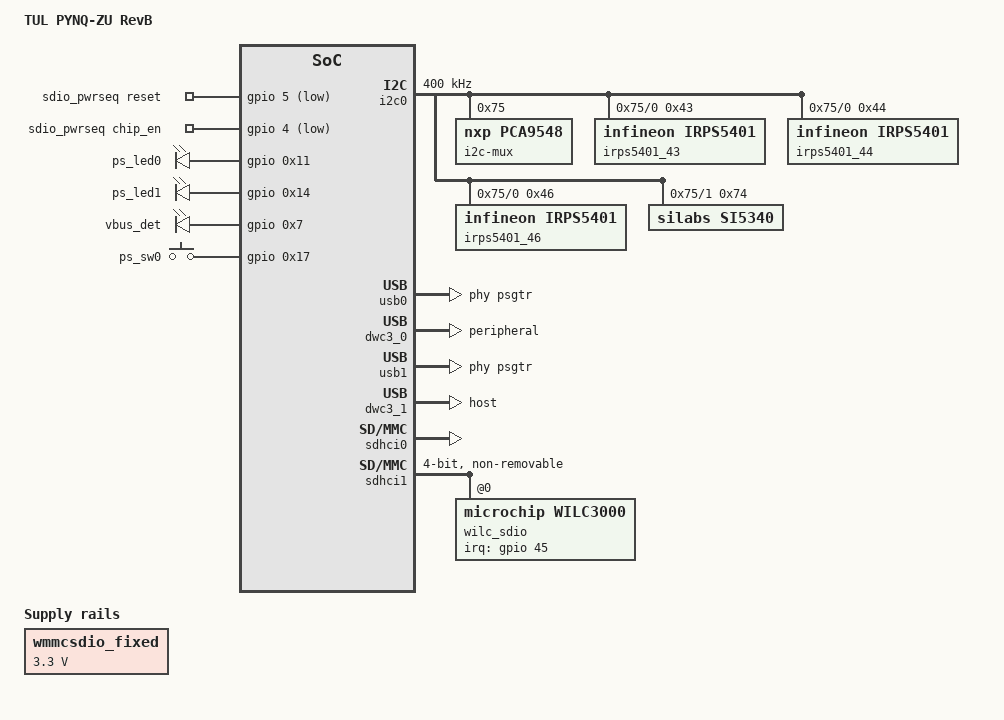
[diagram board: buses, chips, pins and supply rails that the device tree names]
// Copyright (C) 2021 Xilinx, Inc
// SPDX-License-Identifier: BSD-3-Clause

/include/ "system-conf.dtsi"
#include <dt-bindings/phy/phy.h>
/include/ "port-config.dtsi"
/ {
	model = "TUL PYNQ-ZU RevB";

	reserved-memory {
		#address-cells = <2>;
		#size-cells = <2>;
		ranges;

		linux,cma {
			linux,cma-default;
			compatible = "shared-dma-pool";
			alloc-ranges = <0x0 0x0 0x0 0x7ff00000>;
			size = <0x0 0x20000000>;
			alignment = <0x0 0x2000>;
			reusable;
		};
	};

	wmmcsdio_fixed:fixedregulator-mmcsdio {
		compatible = "regulator-fixed";
		regulator-name = "wmmcsdio_fixed";
		regulator-min-microvolt = <3300000>;
		regulator-max-microvolt = <3300000>;
		regulator-always-on;
		regulator-boot-on;
	};

	sdio_pwrseq: sdio_pwrseq {
		compatible = "mmc-pwrseq-simple";
		// MIO[5] RESETN for WILC3000 active low
		reset-gpios = <&gpio 5 1>;
		// requires a patched pwrseq_simple.c for WILC3000
		chip_en-gpios = <&gpio 4 1>;
		post-power-on-delay-ms = <10>;
	};

	leds {
		compatible = "gpio-leds";

		ps_led0 {
			label = "ps_led0";
			gpios = <&gpio 0x11 0x0>;
			linux,default-trigger = "heartbeat";
		};

		ps_led1 {
			label = "ps_led1";
			gpios = <&gpio 0x14 0x0>;
			default-state = "on";
		};

		vbus_det {
			label = "vbus_det";
			gpios = <&gpio 0x7 0x0>;
			default-state = "on";
		};

	};

	gpio-keys {
		compatible = "gpio-keys";
		autorepeat;

		ps_sw0 {
			label = "ps_sw0";
			gpios = <&gpio 0x17 0x0>;
			linux,code = <0x74>;
			gpio-key,wakeup;
		};
	};

	dp_clk: psgtr_dp_clock {
		compatible = "fixed-clock";
		#clock-cells = <0x00>;
		clock-frequency = <27000000>;
	};

	usb_clk: psgtr_usb_clock {
		compatible = "fixed-clock";
		#clock-cells = <0x00>;
		clock-frequency = <26000000>;
	};
};

&i2c0 {
	status = "okay";
	clock-frequency = <400000>;

	i2c-mux@75 {
		compatible = "nxp,pca9548";
		#address-cells = <1>;
		#size-cells = <0>;
		reg = <0x75>;

		i2c@0 {
			#address-cells = <0x1>;
			#size-cells = <0x0>;
			reg = <0x0>;

			irps5401_43: irps5401@43 {
				#clock-cells = <0x0>;
				compatible = "infineon,irps5401";
				reg = <0x43>;
			};

			irps5401_44: irps5401@44 {
				#clock-cells = <0x0>;
				compatible = "infineon,irps5401";
				reg = <0x44>;
			};

			irps5401_46: irps5401@46 {
				#clock-cells = <0x0>;
				compatible = "infineon,irps5401";
				reg = <0x46>;
			};
		};

		i2c@1 {
			#address-cells = <0x1>;
			#size-cells = <0x0>;
			reg = <0x1>;
			si5340: clock-generator@74 {
				compatible = "silabs,si5340";
				reg = <0x74>;
			};
		};

		i2c@2 {
			#address-cells = <0x1>;
			#size-cells = <0x0>;
			reg = <0x2>;
			label = "AUDIO";
		};

		i2c@3 {
			#address-cells = <0x1>;
			#size-cells = <0x0>;
			reg = <0x3>;
			label = "RPICAM";
		};

		i2c@4 {
			#address-cells = <0x1>;
			#size-cells = <0x0>;
			reg = <0x4>;
			label = "SYZYGY";
		};

		i2c@5 {
			#address-cells = <0x1>;
			#size-cells = <0x0>;
			reg = <0x5>;
			label = "FMC";
		};

		i2c@6 {
			#address-cells = <0x1>;
			#size-cells = <0x0>;
			reg = <0x6>;
			label = "USB";
		};
	};
};

&psgtr {
	/* usb3, dp */
	#clock-cells = <0x01>;
	clocks = <&usb_clk>, <&dp_clk>;
	clock-names = "ref0", "ref1";
};

&usb0 {
	/* USB Gadget*/
	status = "okay";
	phys = <&psgtr 2 PHY_TYPE_USB3 0 0>;
	phy-names = "usb3-phy";
};

&dwc3_0 {
	status = "okay";
	dr_mode = "peripheral";
	label = "USB Gadget";
	maximum-speed = "super-speed";
	snps,usb2-lpm-disable;
	snps,usb3_lpm_capable;
	snps,dis_u2_susphy_quirk;
	snps,dis_u3_susphy_quirk;
};

&usb1 {
	// USB Hub
	status = "okay";
	phys = <&psgtr 3 PHY_TYPE_USB3 1 0>;
	phy-names = "usb3-phy";
};

&dwc3_1 {
	status = "okay";
	dr_mode = "host";
	label = "USB Hub";
	maximum-speed = "super-speed";
	snps,usb2-lpm-disable;
	snps,usb3_lpm_capable;
	snps,dis_u2_susphy_quirk;
	snps,dis_u3_susphy_quirk;
};

&sdhci0 {
	status = "okay";
	disable-wp;
	no-1-8-v;
};

&sdhci1 {
	status = "okay";
	max-frequency = <50000000>;
	broken-mmc-highspeed;
	disable-wp;
	non-removable;
	bus-width = <0x4>;
	mmc-pwrseq = <&sdio_pwrseq>;
	vqmmc-supply = <&wmmcsdio_fixed>;
	#address-cells = <0x1>;
	#size-cells = <0x0>;
	wilc_sdio@1 {
			compatible = "microchip,wilc3000";
			status = "okay";
			bus-width = <0x4>;
			reg = <0x0>;
			irq-gpios = <&gpio 45 0>;
		};
};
